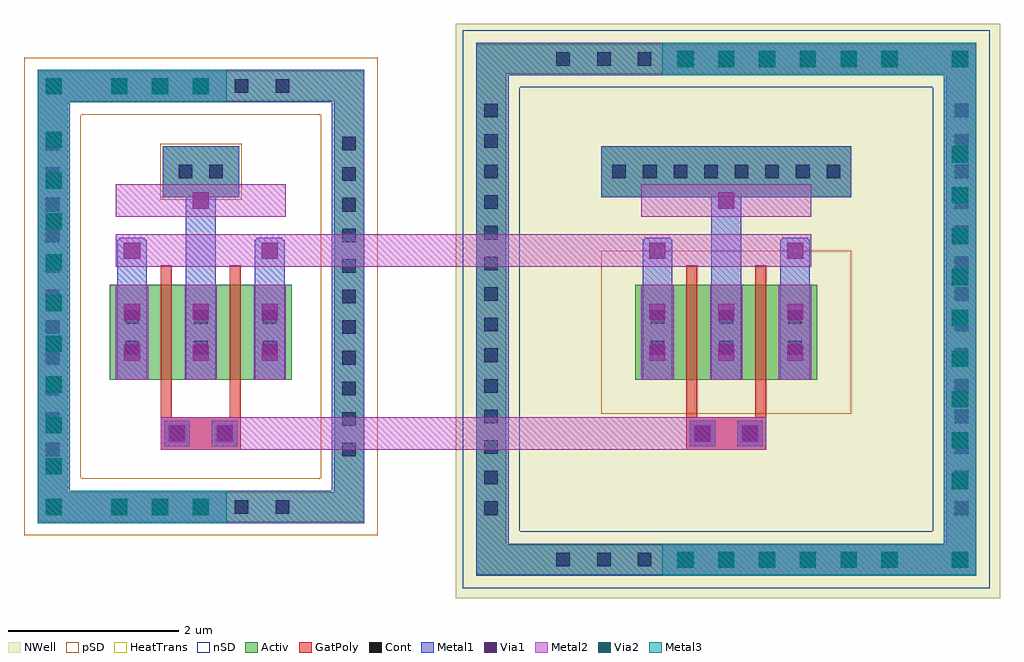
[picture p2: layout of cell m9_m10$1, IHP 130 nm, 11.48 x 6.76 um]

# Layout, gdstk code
import gdstk
lib = gdstk.Library(unit=1e-6, precision=5e-09)
def R(c, l, rs):  # rectangles x0, y0, x1, y1
    for r in rs: c.add(gdstk.rectangle(r[:2], r[2:], *l))
def A(c, l, x, y, w, h, nx, ny, dx, dy):  # array of equal rectangles
    R(c, l, [(x+i*dx, y+j*dy, x+i*dx+w, y+j*dy+h) for i in range(nx) for j in range(ny)])
def P(c, l, *ps):  # polygons
    for p in ps: c.add(gdstk.Polygon(p, *l))
Activ = (1, 0)
GatPoly = (5, 0)
Cont = (6, 0)
nSD = (7, 0)
Metal1 = (8, 0)
Metal2 = (10, 0)
pSD = (14, 0)
Via1 = (19, 0)
Via2 = (29, 0)
Metal3 = (30, 0)
NWell = (31, 0)
HeatTrans = (51, 0)

unnamed_c8f812d6_1 = lib.new_cell('Unnamed_c8f812d6$1')
A(unnamed_c8f812d6_1, Activ, -1.135, -2.65, 0.35, 0.35, 5, 2, 0.48, 4.95)
A(unnamed_c8f812d6_1, Activ, -1.92, -1.975, 0.35, 0.35, 1, 11, 0, 0.36)
A(unnamed_c8f812d6_1, Activ, 1.57, -1.975, 0.35, 0.35, 1, 11, 0, 0.36)
R(unnamed_c8f812d6_1, Activ, [(-1.135,-2.65,1.135,-2.3), (-1.92,-1.975,-1.57,1.975), (1.57,-1.975,1.92,1.975), (-1.135,2.3,1.135,2.65)])
P(unnamed_c8f812d6_1, Activ, [(-1.92,-2.65),(-1.92,-2.3),(1.57,-2.3),(1.57,2.3),(-1.57,2.3),(-1.57,-2.3),(-1.92,-2.3),(-1.92,2.65),(1.92,2.65),(1.92,-2.65)])
A(unnamed_c8f812d6_1, Cont, -1.04, -2.555, 0.16, 0.16, 5, 2, 0.48, 4.95)
A(unnamed_c8f812d6_1, Cont, -1.825, -1.88, 0.16, 0.16, 1, 11, 0, 0.36)
A(unnamed_c8f812d6_1, Cont, 1.665, -1.88, 0.16, 0.16, 1, 11, 0, 0.36)
R(unnamed_c8f812d6_1, Metal1, [(-1.92,-2.665,-1.54,2.665), (-1.92,-2.665,1.92,-2.285), (1.54,-2.665,1.92,-2.285), (1.54,-2.665,1.92,2.665), (1.57,-2.665,1.92,-2.3), (-1.92,2.285,1.92,2.665)])
R(unnamed_c8f812d6_1, Metal2, [(-1.92,-2.665,0.305,-2.285), (-1.92,-2.665,-1.54,2.665), (-1.92,2.285,0.305,2.665)])
P(unnamed_c8f812d6_1, pSD, [(-2.08,-2.81),(-2.08,-2.14),(1.41,-2.14),(1.41,2.14),(-1.41,2.14),(-1.41,-2.14),(-2.08,-2.14),(-2.08,2.81),(2.08,2.81),(2.08,-2.81)])
A(unnamed_c8f812d6_1, Via1, -1.825, -2.57, 0.19, 0.19, 1, 10, 0, 0.48)
A(unnamed_c8f812d6_1, Via1, -1.055, -2.57, 0.19, 0.19, 3, 2, 0.48, 4.95)
R(unnamed_c8f812d6_1, Via1, [(-1.825,2.38,-1.635,2.57)])
A(unnamed_c8f812d6_1, Via2, -1.825, -2.57, 0.19, 0.19, 1, 10, 0, 0.48)
A(unnamed_c8f812d6_1, Via2, -1.055, -2.57, 0.19, 0.19, 3, 2, 0.48, 4.95)
R(unnamed_c8f812d6_1, Via2, [(-1.825,2.38,-1.635,2.57)])
R(unnamed_c8f812d6_1, Metal3, [(-1.92,-2.665,0.305,-2.285), (-1.92,-2.665,-1.54,2.665), (-1.92,2.285,0.305,2.665)])

unnamed_dfcbf9e9_1 = lib.new_cell('Unnamed_dfcbf9e9$1')
R(unnamed_dfcbf9e9_1, Activ, [(-1.07,-0.73,1.07,0.39), (-0.45,1.42,0.45,2.02), (-0.45,1.42,0.45,2.02), (-0.355,1.545,-0.005,1.895), (0.005,1.545,0.355,1.895)])
R(unnamed_dfcbf9e9_1, GatPoly, [(-0.47,-1.55,0.47,-1.17), (-0.43,-1.51,-0.13,-1.21), (-0.47,-1.17,-0.34,-0.96), (0.34,-1.17,0.47,-0.96), (-0.47,-0.96,-0.34,0.62), (0.34,-0.96,0.47,0.62)])
A(unnamed_dfcbf9e9_1, Cont, -0.89, -0.43, 0.16, 0.16, 3, 2, 0.81, 0.36)
R(unnamed_dfcbf9e9_1, Cont, [(-0.36,-1.44,-0.2,-1.28), (-0.26,1.64,-0.1,1.8), (0.1,1.64,0.26,1.8)])
A(unnamed_dfcbf9e9_1, Metal1, -0.985, -0.73, 0.35, 1.12, 3, 1, 0.81, 0)
A(unnamed_dfcbf9e9_1, Metal1, -0.96, -0.56, 0.3, 0.3, 3, 2, 0.81, 0.06)
A(unnamed_dfcbf9e9_1, Metal1, -0.96, -0.56, 0.3, 0.78, 3, 1, 0.81, 0)
A(unnamed_dfcbf9e9_1, Metal1, -0.96, -0.14, 0.3, 0.3, 3, 2, 0.81, 0.06)
R(unnamed_dfcbf9e9_1, Metal1, [(-0.43,-1.51,-0.13,-1.21), (-0.985,0.39,-0.635,0.92), (-0.175,0.39,0.175,1.51), (0.635,0.39,0.985,0.92), (-0.96,0.64,-0.66,0.94), (0.66,0.64,0.96,0.94), (-0.15,1.23,0.15,1.53), (-0.45,1.42,0.45,2.02)])
A(unnamed_dfcbf9e9_1, Metal2, -1, -0.73, 0.38, 1.12, 3, 1, 0.81, 0)
A(unnamed_dfcbf9e9_1, Metal2, -1, -0.6, 0.38, 0.38, 3, 2, 0.81, 0.48)
R(unnamed_dfcbf9e9_1, Metal2, [(-0.47,-1.55,-0.09,-1.17), (-0.47,-1.55,0.47,-1.17), (-1,0.6,-0.62,0.98), (-1,0.6,1,0.98), (0.62,0.6,1,0.98), (-1,1.19,1,1.57), (-0.19,1.19,0.19,1.57)])
R(unnamed_dfcbf9e9_1, pSD, [(-0.48,1.39,0.48,2.05)])
A(unnamed_dfcbf9e9_1, Via1, -0.905, -0.505, 0.19, 0.19, 3, 2, 0.81, 0.48)
R(unnamed_dfcbf9e9_1, Via1, [(-0.375,-1.455,-0.185,-1.265), (-0.905,0.695,-0.715,0.885), (0.715,0.695,0.905,0.885), (-0.095,1.285,0.095,1.475)])
R(unnamed_dfcbf9e9_1, HeatTrans, [(-0.47,-1.55,0.47,-1.17), (-0.15,-1.51,0.15,-1.21), (-0.47,-1.17,-0.34,-0.96), (0.34,-1.17,0.47,-0.96), (-0.47,-0.96,-0.34,0.62), (0.34,-0.96,0.47,0.62)])
unnamed_dfcbf9e9_1.add(gdstk.Reference(unnamed_c8f812d6_1, (0,0.25)))

unnamed_a1e25767_1 = lib.new_cell('Unnamed_a1e25767$1')
A(unnamed_a1e25767_1, Activ, -2.095, -3.12, 0.35, 0.35, 9, 2, 0.48, 5.89)
A(unnamed_a1e25767_1, Activ, -2.94, -2.515, 0.35, 0.35, 1, 14, 0, 0.36)
A(unnamed_a1e25767_1, Activ, 2.59, -2.515, 0.35, 0.35, 1, 14, 0, 0.36)
R(unnamed_a1e25767_1, Activ, [(-2.095,-3.12,2.095,-2.77), (-2.94,-2.515,-2.59,2.515), (2.59,-2.515,2.94,2.515), (-2.095,2.77,2.095,3.12)])
P(unnamed_a1e25767_1, Activ, [(-2.94,-3.12),(-2.94,-2.77),(2.59,-2.77),(2.59,2.77),(-2.59,2.77),(-2.59,-2.77),(-2.94,-2.77),(-2.94,3.12),(2.94,3.12),(2.94,-3.12)])
A(unnamed_a1e25767_1, Cont, -2, -3.025, 0.16, 0.16, 9, 2, 0.48, 5.89)
A(unnamed_a1e25767_1, Cont, -2.845, -2.42, 0.16, 0.16, 1, 14, 0, 0.36)
A(unnamed_a1e25767_1, Cont, 2.685, -2.42, 0.16, 0.16, 1, 14, 0, 0.36)
P(unnamed_a1e25767_1, nSD, [(-3.1,-3.28),(-3.1,-2.61),(2.43,-2.61),(2.43,2.61),(-2.43,2.61),(-2.43,-2.61),(-3.1,-2.61),(-3.1,3.28),(3.1,3.28),(3.1,-3.28)])
R(unnamed_a1e25767_1, Metal1, [(-2.94,-3.135,-2.56,3.135), (-2.94,-3.135,2.94,-2.755), (2.56,-3.135,2.94,3.135), (-2.94,2.755,2.94,3.135)])
R(unnamed_a1e25767_1, Metal2, [(-0.755,-3.135,2.94,-2.755), (2.56,-3.135,2.94,3.135), (-0.755,2.755,2.94,3.135)])
A(unnamed_a1e25767_1, Via1, -0.575, -3.04, 0.19, 0.19, 6, 2, 0.48, 5.89)
A(unnamed_a1e25767_1, Via1, 2.655, -2.115, 0.19, 0.19, 1, 9, 0, 0.48)
R(unnamed_a1e25767_1, Via1, [(2.655,-3.04,2.845,-2.85), (2.655,2.85,2.845,3.04)])
A(unnamed_a1e25767_1, Via2, -0.575, -3.04, 0.19, 0.19, 6, 2, 0.48, 5.89)
A(unnamed_a1e25767_1, Via2, 2.655, -2.115, 0.19, 0.19, 1, 9, 0, 0.48)
R(unnamed_a1e25767_1, Via2, [(2.655,-3.04,2.845,-2.85), (2.655,2.85,2.845,3.04)])
R(unnamed_a1e25767_1, Metal3, [(-0.755,-3.135,2.94,-2.755), (2.56,-3.135,2.94,3.135), (-0.755,2.755,2.94,3.135)])
R(unnamed_a1e25767_1, NWell, [(-3.18,-3.4,3.22,3.36)])

unnamed_dcb4e209_1 = lib.new_cell('Unnamed_dcb4e209$1')
A(unnamed_dcb4e209_1, Activ, -1.435, 1.545, 0.35, 0.35, 8, 1, 0.36, 0)
R(unnamed_dcb4e209_1, Activ, [(-1.07,-0.73,1.07,0.39), (-1.47,1.42,1.47,2.02), (-1.47,1.42,1.47,2.02)])
R(unnamed_dcb4e209_1, GatPoly, [(-0.47,-1.55,0.47,-1.17), (-0.43,-1.51,-0.13,-1.21), (-0.47,-1.17,-0.34,-0.96), (0.34,-1.17,0.47,-0.96), (-0.47,-0.96,-0.34,0.62), (0.34,-0.96,0.47,0.62)])
A(unnamed_dcb4e209_1, Cont, -0.89, -0.43, 0.16, 0.16, 3, 2, 0.81, 0.36)
A(unnamed_dcb4e209_1, Cont, -1.34, 1.64, 0.16, 0.16, 8, 1, 0.36, 0)
R(unnamed_dcb4e209_1, Cont, [(-0.36,-1.44,-0.2,-1.28)])
A(unnamed_dcb4e209_1, Metal1, -0.985, -0.73, 0.35, 1.12, 3, 1, 0.81, 0)
A(unnamed_dcb4e209_1, Metal1, -0.96, -0.56, 0.3, 0.3, 3, 2, 0.81, 0.06)
A(unnamed_dcb4e209_1, Metal1, -0.96, -0.56, 0.3, 0.78, 3, 1, 0.81, 0)
A(unnamed_dcb4e209_1, Metal1, -0.96, -0.14, 0.3, 0.3, 3, 2, 0.81, 0.06)
R(unnamed_dcb4e209_1, Metal1, [(-0.43,-1.51,-0.13,-1.21), (-0.985,0.39,-0.635,0.92), (-0.175,0.39,0.175,1.51), (0.635,0.39,0.985,0.92), (-0.96,0.64,-0.66,0.94), (0.66,0.64,0.96,0.94), (-0.15,1.23,0.15,1.53), (-1.47,1.42,1.47,2.02)])
A(unnamed_dcb4e209_1, Metal2, -1, -0.73, 0.38, 1.12, 3, 1, 0.81, 0)
A(unnamed_dcb4e209_1, Metal2, -1, -0.6, 0.38, 0.38, 3, 2, 0.81, 0.48)
R(unnamed_dcb4e209_1, Metal2, [(-0.47,-1.55,-0.09,-1.17), (-0.47,-1.55,0.47,-1.17), (-1,0.6,-0.62,0.98), (-1,0.6,1,0.98), (0.62,0.6,1,0.98), (-1,1.19,1,1.57), (-0.19,1.19,0.19,1.57)])
R(unnamed_dcb4e209_1, pSD, [(-1.47,-1.13,1.47,0.79)])
A(unnamed_dcb4e209_1, Via1, -0.905, -0.505, 0.19, 0.19, 3, 2, 0.81, 0.48)
R(unnamed_dcb4e209_1, Via1, [(-0.375,-1.455,-0.185,-1.265), (-0.905,0.695,-0.715,0.885), (0.715,0.695,0.905,0.885), (-0.095,1.285,0.095,1.475)])
R(unnamed_dcb4e209_1, NWell, [(-2.09,-2.17,2.09,2.17), (-2.09,1.07,2.09,2.37)])
R(unnamed_dcb4e209_1, HeatTrans, [(-0.47,-1.55,0.47,-1.17), (-0.15,-1.51,0.15,-1.21), (-0.47,-1.17,-0.34,-0.96), (0.34,-1.17,0.47,-0.96), (-0.47,-0.96,-0.34,0.62), (0.34,-0.96,0.47,0.62)])
unnamed_dcb4e209_1.add(gdstk.Reference(unnamed_a1e25767_1, (0,0.1)))

straight_route_eac788a9_ = lib.new_cell('straight_route_eac788a9$1$1')
R(straight_route_eac788a9_, Metal2, [(-2.09,3.16,2.09,3.54)])

straight_route_41adee43_ = lib.new_cell('straight_route_41adee43$1$1')
R(straight_route_41adee43_, Metal2, [(-2.62,1.01,2.62,1.39)])

m9_m10_1 = lib.new_cell('m9_m10$1')
R(m9_m10_1, GatPoly, [(-2.96,1.05,-2.66,1.35), (3.22,1.05,3.52,1.35)])
R(m9_m10_1, Cont, [(-2.89,1.12,-2.73,1.28), (3.29,1.12,3.45,1.28)])
R(m9_m10_1, Metal1, [(-2.96,1.05,-2.66,1.35), (3.22,1.05,3.52,1.35)])
R(m9_m10_1, Metal2, [(-3,1.01,-2.62,1.39), (3.18,1.01,3.56,1.39)])
R(m9_m10_1, Via1, [(-2.905,1.105,-2.715,1.295), (3.275,1.105,3.465,1.295)])
m9_m10_1.add(gdstk.Reference(unnamed_dfcbf9e9_1, (-3.09,2.56)))
m9_m10_1.add(gdstk.Reference(unnamed_dcb4e209_1, (3.09,2.56)))
m9_m10_1.add(gdstk.Reference(straight_route_eac788a9_, (0,0)))
m9_m10_1.add(gdstk.Reference(straight_route_41adee43_, (0,0)))

lib.write_gds('m9_m10_1.gds')
